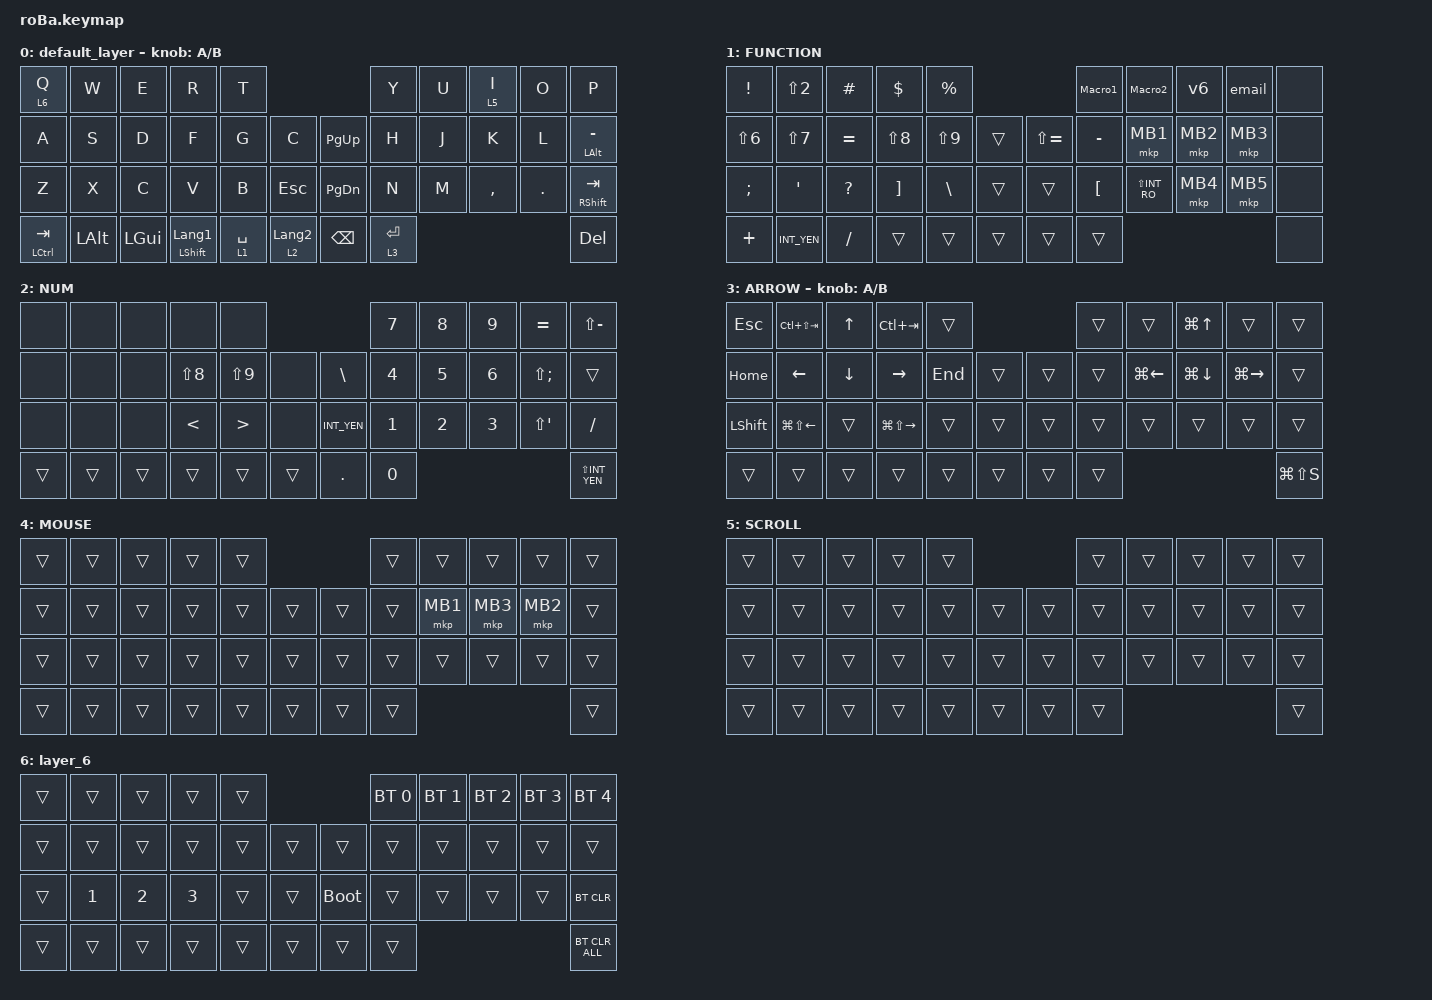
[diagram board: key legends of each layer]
#include <behaviors.dtsi>
#include <dt-bindings/zmk/bt.h>
#include <dt-bindings/zmk/keys.h>
#include <dt-bindings/zmk/pointing.h>

&mt {
    flavor = "balanced";
    quick-tap-ms = <0>;
};

&trackball {
    //automouse-layer = <4>;

    scroll-layers = <5>;

    // arrows {
    //     layers = <3>;
    //     bindings =
    //         <&kp RIGHT_ARROW>,
    //         <&kp LEFT_ARROW>,
    //         <&kp UP_ARROW>,
    //         <&kp DOWN_ARROW>;
    //     tick = <10>;
    //     wait-ms = <5>;
    //     tap-ms = <5>;
    // };
};

/ {
    combos { compatible = "zmk,combos"; };

    macros {
        to_layer_0: to_layer_0 {
            compatible = "zmk,behavior-macro-one-param";
            #binding-cells = <1>;
            bindings = <&to 0 &macro_param_1to1 &kp MACRO_PLACEHOLDER>;
            label = "TO_LAYER_0";
        };

        email: new_macro {
            compatible = "zmk,behavior-macro";
            #binding-cells = <0>;
            bindings = <&kp H &kp I &kp R &kp O &kp Y &kp U &kp K &kp I &kp LS(INT_RO) &kp K &kp O &kp N &kp D &kp O &kp LS(INT_RO) &kp A &kp H &kp LBKT &kp M &kp A &kp I &kp L &kp DOT &kp T &kp O &kp Y &kp O &kp T &kp A &kp DOT &kp C &kp O>;
            label = "NEW_MACRO";
        };

        v6: v6 {
            compatible = "zmk,behavior-macro";
            #binding-cells = <0>;
            bindings = <&kp LS(N1) &kp X &kp N9 &kp LS(R) &kp N6 &kp LS(Q) &kp N6 &kp H &kp G &kp LS(N9) &kp N9 &kp LS(M)>;
            label = "V6";
        };

        Macro2: Macro2 {
            compatible = "zmk,behavior-macro";
            #binding-cells = <0>;
            bindings = <&kp B &kp P &kp N0 &kp N9 &kp F &kp F &kp B &kp I &kp R>;
            label = "MACRO2";
        };

        Macro1: Macro1 {
            compatible = "zmk,behavior-macro";
            #binding-cells = <0>;
            bindings = <&kp LS(U) &kp N5 &kp LS(F) &kp LS(F) &kp N7 &kp LS(V) &kp SINGLE_QUOTE &kp F &kp LS(Z) &kp H &kp LS(A) &kp N8 &kp K &kp LS(INT_RO) &kp LS(K)>;
            label = "MACRO1";
        };
    };

    behaviors {
        lt_to_layer_0: lt_to_layer_0 {
            compatible = "zmk,behavior-hold-tap";
            label = "LAYER_TAP_TO_0";
            bindings = <&mo>, <&to_layer_0>;

            #binding-cells = <2>;
            tapping-term-ms = <200>;
        };
    };

    keymap {
        compatible = "zmk,keymap";

        default_layer {
            bindings = <
&lt 6 Q        &kp W         &kp E         &kp R                      &kp T                                             &kp Y        &kp U  &lt 5 I    &kp O    &kp P
&kp A          &kp S         &kp D         &kp F                      &kp G        &kp C                 &kp PAGE_UP    &kp H        &kp J  &kp K      &kp L    &mt LEFT_ALT MINUS
&kp Z          &kp X         &kp C         &kp V                      &kp B        &kp ESCAPE            &kp PAGE_DOWN  &kp N        &kp M  &kp COMMA  &kp DOT  &mt RIGHT_SHIFT TAB
&mt LCTRL TAB  &kp LEFT_ALT  &kp LEFT_GUI  &mt LEFT_SHIFT LANGUAGE_1  &lt 1 SPACE  &lt 2 LANGUAGE_2      &kp BACKSPACE  &lt 3 ENTER                             &kp DEL
            >;

            sensor-bindings = <&inc_dec_kp A B>;
        };

        FUNCTION {
            bindings = <
&kp EXCLAMATION  &kp LS(N2)        &kp HASH      &kp DOLLAR  &kp PERCENT                             &Macro1    &Macro2         &v6       &email    &none
&kp LS(N6)       &kp LS(N7)        &kp EQUAL     &kp LS(N8)  &kp LS(N9)   &trans      &kp LS(EQUAL)  &kp MINUS  &mkp MB1        &mkp MB2  &mkp MB3  &none
&kp SEMICOLON    &kp SINGLE_QUOTE  &kp QUESTION  &kp RBKT    &kp BSLH     &trans      &trans         &kp LBKT   &kp LS(INT_RO)  &mkp MB4  &mkp MB5  &none
&kp PLUS         &kp INT_YEN       &kp SLASH     &trans      &trans       &trans      &trans         &trans                                         &none
            >;
        };

        NUM {
            bindings = <
&none   &none   &none   &none       &none                                        &kp NUMBER_7  &kp NUMBER_8  &kp NUMBER_9  &kp EQUAL             &kp LS(MINUS)
&none   &none   &none   &kp LS(N8)  &kp LS(N9)        &none       &kp BACKSLASH  &kp NUMBER_4  &kp NUMBER_5  &kp NUMBER_6  &kp LS(SEMICOLON)     &trans
&none   &none   &none   &kp LT      &kp GREATER_THAN  &none       &kp INT_YEN    &kp NUMBER_1  &kp NUMBER_2  &kp NUMBER_3  &kp LS(SINGLE_QUOTE)  &kp SLASH
&trans  &trans  &trans  &trans      &trans            &trans      &kp DOT        &kp N0                                                          &kp LS(INT_YEN)
            >;
        };

        ARROW {
            bindings = <
&kp ESCAPE      &kp LC(LS(TAB))         &kp UP_ARROW    &kp LC(TAB)              &trans                       &trans  &trans        &kp LG(UP_ARROW)  &trans         &trans
&kp HOME        &kp LEFT_ARROW          &kp DOWN_ARROW  &kp RIGHT_ARROW          &kp END  &trans      &trans  &trans  &kp LG(LEFT)  &kp LG(DOWN)      &kp LG(RIGHT)  &trans
&kp LEFT_SHIFT  &kp LG(LS(LEFT_ARROW))  &trans          &kp LG(LS(RIGHT_ARROW))  &trans   &trans      &trans  &trans  &trans        &trans            &trans         &trans
&trans          &trans                  &trans          &trans                   &trans   &trans      &trans  &trans                                                 &kp LG(LS(S))
            >;

            sensor-bindings = <&inc_dec_kp A B>;
        };

        MOUSE {
            bindings = <
&trans  &trans  &trans  &trans  &trans                      &trans  &trans    &trans    &trans    &trans
&trans  &trans  &trans  &trans  &trans  &trans      &trans  &trans  &mkp MB1  &mkp MB3  &mkp MB2  &trans
&trans  &trans  &trans  &trans  &trans  &trans      &trans  &trans  &trans    &trans    &trans    &trans
&trans  &trans  &trans  &trans  &trans  &trans      &trans  &trans                                &trans
            >;
        };

        SCROLL {
            bindings = <
&trans  &trans  &trans  &trans  &trans                      &trans  &trans  &trans  &trans  &trans
&trans  &trans  &trans  &trans  &trans  &trans      &trans  &trans  &trans  &trans  &trans  &trans
&trans  &trans  &trans  &trans  &trans  &trans      &trans  &trans  &trans  &trans  &trans  &trans
&trans  &trans  &trans  &trans  &trans  &trans      &trans  &trans                          &trans
            >;
        };

        layer_6 {
            bindings = <
&trans  &trans        &trans        &trans        &trans                           &bt BT_SEL 0  &bt BT_SEL 1  &bt BT_SEL 2  &bt BT_SEL 3  &bt BT_SEL 4
&trans  &trans        &trans        &trans        &trans  &trans      &trans       &trans        &trans        &trans        &trans        &trans
&trans  &kp NUMBER_1  &kp NUMBER_2  &kp NUMBER_3  &trans  &trans      &bootloader  &trans        &trans        &trans        &trans        &bt BT_CLR
&trans  &trans        &trans        &trans        &trans  &trans      &trans       &trans                                                  &bt BT_CLR_ALL
            >;
        };
    };
};
